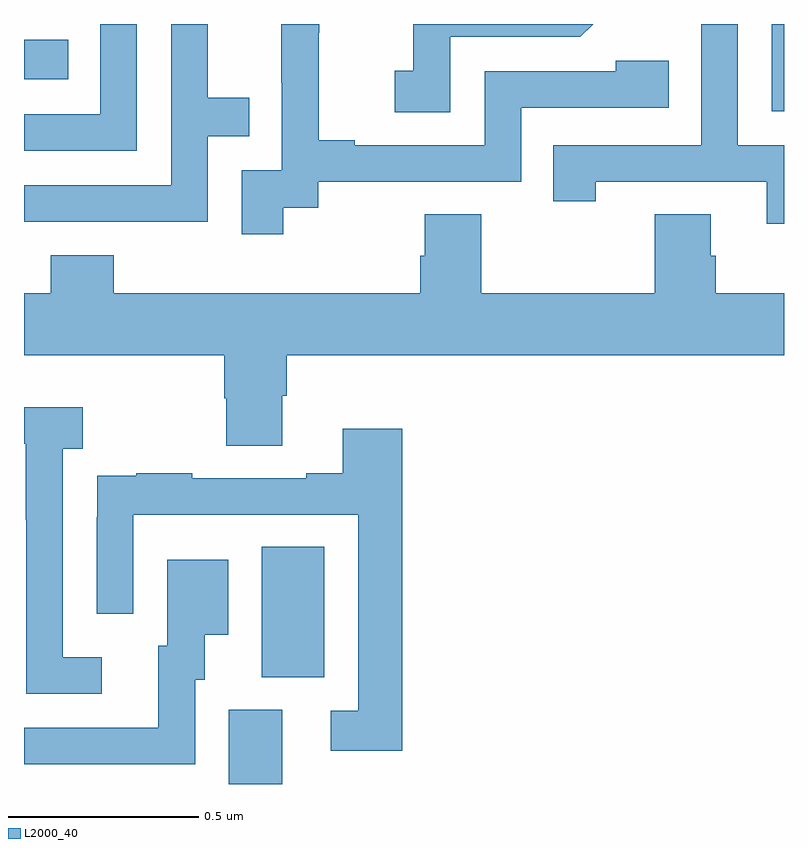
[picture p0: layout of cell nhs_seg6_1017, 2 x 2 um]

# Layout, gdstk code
import gdstk
lib = gdstk.Library(unit=1e-6, precision=1e-09)
def R(c, l, rs):  # rectangles x0, y0, x1, y1
    for r in rs: c.add(gdstk.rectangle(r[:2], r[2:], *l))
def P(c, l, *ps):  # polygons
    for p in ps: c.add(gdstk.Polygon(p, *l))
L2000_40 = (2000, 40)

nhs_seg6_1017 = lib.new_cell('nhs_seg6_1017')
R(nhs_seg6_1017, L2000_40, [(123.539,987.5,123.679,987.696), (123.626,987.781,123.79,988.124), (124.968,989.271,125,989.5), (123,989.354,123.116,989.458)])
P(nhs_seg6_1017, L2000_40, [(123.483,989.205),(123.593,989.205),(123.593,989.306),(123.483,989.306),(123.483,989.5),(123.387,989.5),(123.387,989.076),(123,989.076),(123,988.98),(123.483,988.98)],
  [(123.297,989.5),(123.201,989.5),(123.201,989.262),(123,989.262),(123,989.166),(123.297,989.166)],
  [(123.682,989.017),(123.774,989.017),(123.774,989.085),(124.308,989.085),(124.308,989.28),(124.697,989.28),(124.697,989.403),(124.557,989.403),(124.557,989.376),(124.212,989.376),(124.212,989.181),(123.871,989.181),(123.871,989.194),(123.776,989.194),(123.776,989.477),(123.777,989.477),(123.777,989.5),(123.677,989.5),(123.677,989.345),(123.678,989.345),(123.678,989.115),(123.573,989.115),(123.573,988.947),(123.682,988.947)],
  [(124.122,989.466),(124.464,989.466),(124.498,989.5),(124.024,989.5),(124.024,989.377),(123.975,989.377),(123.975,989.268),(124.122,989.268)],
  [(125,989.181),(124.878,989.181),(124.878,989.5),(124.782,989.5),(124.782,989.181),(124.393,989.181),(124.393,989.034),(124.504,989.034),(124.504,989.085),(124.955,989.085),(124.955,988.974),(125,988.974)],
  [(125,988.792),(124.82,988.792),(124.82,988.89),(124.807,988.89),(124.807,989),(124.66,989),(124.66,988.792),(124.203,988.792),(124.203,989),(124.055,989),(124.055,988.89),(124.043,988.89),(124.043,988.792),(123.236,988.792),(123.236,988.891),(123.071,988.891),(123.071,988.792),(123,988.792),(123,988.628),(123.527,988.628),(123.527,988.515),(123.532,988.515),(123.532,988.39),(123.679,988.39),(123.679,988.522),(123.692,988.522),(123.692,988.628),(125,988.628)],
  [(123.205,987.834),(123.102,987.834),(123.102,988.382),(123.154,988.382),(123.154,988.492),(123,988.492),(123,988.395),(123.005,988.395),(123.005,988.195),(123.006,988.195),(123.006,987.738),(123.205,987.738)],
  [(123.995,988.435),(123.839,988.435),(123.839,988.318),(123.743,988.318),(123.743,988.305),(123.443,988.305),(123.443,988.318),(123.295,988.318),(123.295,988.311),(123.193,988.311),(123.193,988.202),(123.192,988.202),(123.192,987.948),(123.288,987.948),(123.288,988.209),(123.879,988.209),(123.879,987.693),(123.807,987.693),(123.807,987.588),(123.995,987.588)],
  [(123.45,987.774),(123.475,987.774),(123.475,987.893),(123.538,987.893),(123.538,988.09),(123.377,988.09),(123.377,987.864),(123.353,987.864),(123.353,987.648),(123,987.648),(123,987.552),(123.45,987.552)])

lib.write_gds('nhs_seg6_1017.gds')
